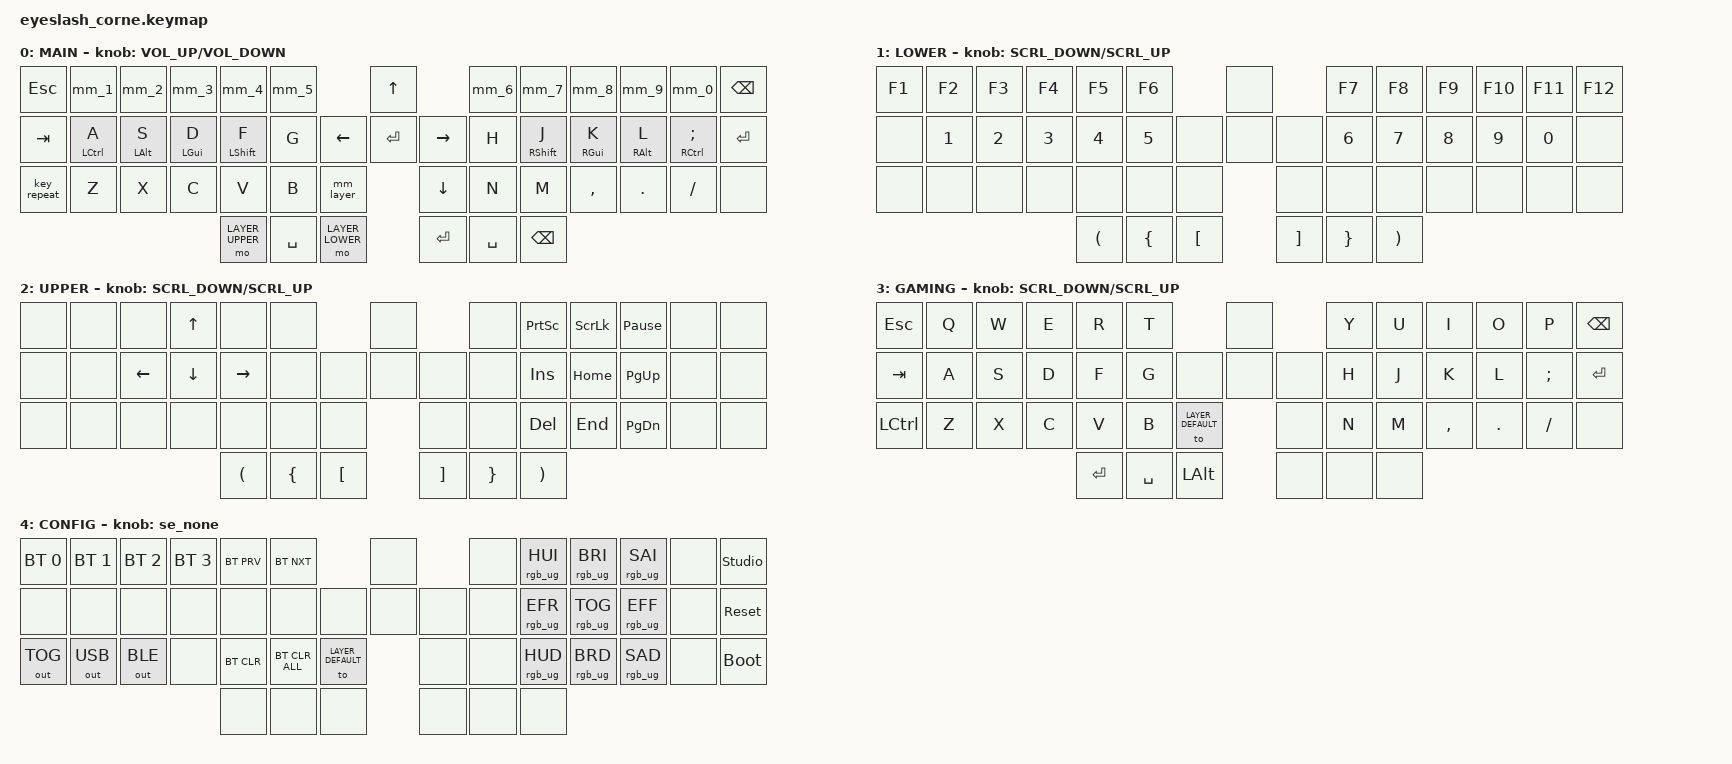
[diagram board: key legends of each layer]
#define ZMK_POINTING_DEFAULT_MOVE_VAL 1200
#define ZMK_POINTING_DEFAULT_SCRL_VAL 25

#include <input/processors.dtsi>
#include <zephyr/dt-bindings/input/input-event-codes.h>
#include <behaviors.dtsi>
#include <dt-bindings/zmk/bt.h>
#include <dt-bindings/zmk/ext_power.h>
#include <dt-bindings/zmk/keys.h>
#include <dt-bindings/zmk/outputs.h>
#include <dt-bindings/zmk/pointing.h>
#include <dt-bindings/zmk/rgb.h>

#define LAYER_DEFAULT 0
#define LAYER_LOWER 1
#define LAYER_UPPER 2
#define LAYER_GAMING 3
#define LAYER_CONFIG 4

#define MOD_MORPH(LABEL, TAP, NUM, DISPLAY_NAME) \
LABEL: LABEL { \
  compatible = "zmk,behavior-mod-morph"; \
  display-name = DISPLAY_NAME; \
  #binding-cells = <0>; \
  bindings = <TAP>, <NUM>; \
  mods = <(MOD_LGUI | MOD_RGUI)>; \
}

// Scroll Behavior
&msc_input_listener { input-processors = <&zip_scroll_scaler 2 1>; };
&msc {
  acceleration-exponent = <0>;
  time-to-max-speed-ms = <100>;
  delay-ms = <0>;
};

// Mouse Movement Behavior
&mmv_input_listener { input-processors = <&zip_xy_scaler 2 1>; };
&mmv {
  time-to-max-speed-ms = <500>;
  acceleration-exponent = <1>;
  trigger-period-ms = <16>;
};

/{
  behaviors {
    ht: hold_tap {
      compatible = "zmk,behavior-hold-tap";
      display-name = "Hold+Tap <Tap Preferred>";
      #binding-cells = <2>;
      bindings = <&kp>, <&kp>;
      // Options
      tapping-term-ms = <130>;
      flavor = "tap-preferred";
      quick-tap-ms = <200>;
      retro-tap;
    };
    mm_layer: mod_morph_layer {
      compatible = "zmk,behavior-mod-morph";
      display-name = "Mod Morph";
      #binding-cells = <0>;
      bindings = <&kp C_MUTE>, <&td_layer>;
      // Options
      mods = <(MOD_LCTL | MOD_LGUI | MOD_LALT | MOD_LSFT | MOD_RSFT | MOD_RALT | MOD_RGUI | MOD_RCTL)>;
    };
    td_layer: tap_dance_layer {
      compatible = "zmk,behavior-tap-dance";
      #binding-cells = <0>;
      // Options
      tapping-term-ms = <1000>;
      bindings = <&none>, <&to LAYER_GAMING>, <&to LAYER_CONFIG>;
    };
    se_none: scroll_encoder_none {
      compatible = "zmk,behavior-sensor-rotate";
      #sensor-binding-cells = <0>;
      bindings = <&none>, <&none>;
      // Options
      tap-ms = <100>;
    };
    se_kp_kp: scroll_encoder_kp_kp {
      compatible = "zmk,behavior-sensor-rotate-var";
      #sensor-binding-cells = <2>;
      bindings = <&kp>, <&kp>;
      // Options
      tap-ms = <100>;
    };
    se_msc_msc: scroll_encoder_msc_msc {
      compatible = "zmk,behavior-sensor-rotate-var";
      #sensor-binding-cells = <2>;
      bindings = <&msc>, <&msc>;
      // Options
      tap-ms = <100>;
    };
    MOD_MORPH(mm_1, &kp Q, &kp N1, "Mod Morph Q::N1");
    MOD_MORPH(mm_2, &kp W, &kp N2, "Mod Morph W::N2");
    MOD_MORPH(mm_3, &kp E, &kp N3, "Mod Morph E::N3");
    MOD_MORPH(mm_4, &kp R, &kp N4, "Mod Morph R::N4");
    MOD_MORPH(mm_5, &kp T, &kp N5, "Mod Morph T::N5");
    MOD_MORPH(mm_6, &kp Y, &kp N6, "Mod Morph Y::N6");
    MOD_MORPH(mm_7, &kp U, &kp N7, "Mod Morph U::N7");
    MOD_MORPH(mm_8, &kp I, &kp N8, "Mod Morph I::N8");
    MOD_MORPH(mm_9, &kp O, &kp N9, "Mod Morph O::N9");
    MOD_MORPH(mm_0, &kp P, &kp N0, "Mod Morph P::N0");
  };

  keymap {
    compatible = "zmk,keymap";

    layer_main {
      display-name = "MAIN";
      bindings = <
// ╔═════════════════╦═════════════════╦═════════════════╦═════════════════╦═════════════════╦═════════════════╗                                           ╔═════════════════╗                    ╔═════════════════╦═════════════════╦═════════════════╦═════════════════╦═════════════════╦═════════════════╗
          &kp ESC           &mm_1             &mm_2             &mm_3             &mm_4             &mm_5                                                        &kp UP                                  &mm_6             &mm_7             &mm_8             &mm_9             &mm_0            &kp BSPC
// ╠═════════════════╬═════════════════╬═════════════════╬═════════════════╬═════════════════╬═════════════════╣                         ╔═════════════════╬═════════════════╬═════════════════╗  ╠═════════════════╬═════════════════╬═════════════════╬═════════════════╬═════════════════╬═════════════════╣
          &kp TAB       &ht LCTRL A        &ht LALT S        &ht LGUI D        &ht LSHIFT F         &kp G                                     &kp LEFT          &kp ENTER         &kp RIGHT              &kp H         &ht RSHIFT J        &ht RGUI K       &ht RALT L      &ht RCTRL SEMI       &kp ENTER
// ╠═════════════════╬═════════════════╬═════════════════╬═════════════════╬═════════════════╬═════════════════╣  ╔═════════════════╗    ╚═════════════════╬═════════════════╬═════════════════╝  ╠═════════════════╬═════════════════╬═════════════════╬═════════════════╬═════════════════╬═════════════════╣
        &key_repeat         &kp Z             &kp X             &kp C             &kp V             &kp B              &mm_layer                                &kp DOWN                                 &kp N             &kp M           &kp COMMA          &kp DOT          &kp FSLH            &none
// ╚═════════════════╩═════════════════╩═════════════════╩═════════════════╩═════════════════╩═════════════════╝  ╚═════════════════╝                      ╚═════════════════╝                    ╚═════════════════╩═════════════════╩═════════════════╩═════════════════╩═════════════════╩═════════════════╝
//                                                                            ╔═════════════════╦═════════════════╦═════════════════╗                                         ╔═════════════════╦═════════════════╦═════════════════╗
                                                                                &mo LAYER_UPPER      &kp SPACE      &mo LAYER_LOWER                                                &kp ENTER         &kp SPACE         &kp BSPC
//                                                                            ╚═════════════════╩═════════════════╩═════════════════╝                                         ╚═════════════════╩═════════════════╩═════════════════╝
      >;
      sensor-bindings = <&se_kp_kp C_VOLUME_UP C_VOLUME_DOWN>;
    };

    layer_lower {
      display-name = "LOWER";
      bindings = <
// ╔═════════════════╦═════════════════╦═════════════════╦═════════════════╦═════════════════╦═════════════════╗                                           ╔═════════════════╗                    ╔═════════════════╦═════════════════╦═════════════════╦═════════════════╦═════════════════╦═════════════════╗
          &kp F1            &kp F2            &kp F3            &kp F4            &kp F5           &kp F6                                                         &none                                 &kp F7            &kp F8            &kp F9            &kp F10           &kp F11           &kp F12
// ╠═════════════════╬═════════════════╬═════════════════╬═════════════════╬═════════════════╬═════════════════╣                         ╔═════════════════╬═════════════════╬═════════════════╗  ╠═════════════════╬═════════════════╬═════════════════╬═════════════════╬═════════════════╬═════════════════╣
          &none             &kp N1            &kp N2            &kp N3            &kp N4           &kp N5                                       &none             &none             &none               &kp N6            &kp N7            &kp N8            &kp N9            &kp N0             &none
// ╠═════════════════╬═════════════════╬═════════════════╬═════════════════╬═════════════════╬═════════════════╣  ╔═════════════════╗    ╚═════════════════╬═════════════════╬═════════════════╝  ╠═════════════════╬═════════════════╬═════════════════╬═════════════════╬═════════════════╬═════════════════╣
          &none             &none             &none             &none             &none             &none                &none                                    &none                                  &none             &none             &none             &none             &none             &none
// ╚═════════════════╩═════════════════╩═════════════════╩═════════════════╩═════════════════╩═════════════════╝  ╚═════════════════╝                      ╚═════════════════╝                    ╚═════════════════╩═════════════════╩═════════════════╩═════════════════╩═════════════════╩═════════════════╝
//                                                                            ╔═════════════════╦═════════════════╦═════════════════╗                                         ╔═════════════════╦═════════════════╦═════════════════╗
                                                                                    &kp LPAR         &kp LBRC           &kp LBKT                                                    &kp RBKT          &kp RBRC          &kp RPAR
//                                                                            ╚═════════════════╩═════════════════╩═════════════════╝                                         ╚═════════════════╩═════════════════╩═════════════════╝
      >;
      sensor-bindings = <&se_msc_msc SCRL_DOWN SCRL_UP>;
    };

    layer_upper {
      display-name = "UPPER";
      bindings = <
// ╔═════════════════╦═════════════════╦═════════════════╦═════════════════╦═════════════════╦═════════════════╗                                           ╔═════════════════╗                    ╔═════════════════╦═════════════════╦═════════════════╦═════════════════╦═════════════════╦═════════════════╗
          &none             &none             &none             &kp UP            &none             &none                                                         &none                                   &none       &kp PRINTSCREEN   &kp SCROLLLOCK    &kp PAUSE_BREAK        &none             &none
// ╠═════════════════╬═════════════════╬═════════════════╬═════════════════╬═════════════════╬═════════════════╣                         ╔═════════════════╬═════════════════╬═════════════════╗  ╠═════════════════╬═════════════════╬═════════════════╬═════════════════╬═════════════════╬═════════════════╣
          &none             &none           &kp LEFT           &kp DOWN         &kp RIGHT           &none                                       &none             &none             &none                 &none          &kp INS           &kp HOME         &kp PG_UP            &none             &none
// ╠═════════════════╬═════════════════╬═════════════════╬═════════════════╬═════════════════╬═════════════════╣  ╔═════════════════╗    ╚═════════════════╬═════════════════╬═════════════════╝  ╠═════════════════╬═════════════════╬═════════════════╬═════════════════╬═════════════════╬═════════════════╣
          &none             &none             &none             &none             &none             &none                &none                                    &none                                   &none          &kp DEL           &kp END          &kp PG_DN            &none             &none
// ╚═════════════════╩═════════════════╩═════════════════╩═════════════════╩═════════════════╩═════════════════╝  ╚═════════════════╝                      ╚═════════════════╝                    ╚═════════════════╩═════════════════╩═════════════════╩═════════════════╩═════════════════╩═════════════════╝
//                                                                            ╔═════════════════╦═════════════════╦═════════════════╗                                         ╔═════════════════╦═════════════════╦═════════════════╗
                                                                                    &kp LPAR         &kp LBRC           &kp LBKT                                                    &kp RBKT          &kp RBRC          &kp RPAR
//                                                                            ╚═════════════════╩═════════════════╩═════════════════╝                                         ╚═════════════════╩═════════════════╩═════════════════╝
      >;
      sensor-bindings = <&se_msc_msc SCRL_DOWN SCRL_UP>;
    };

    layer_gaming {
      display-name = "GAMING";
      bindings = <
// ╔═════════════════╦═════════════════╦═════════════════╦═════════════════╦═════════════════╦═════════════════╗                                           ╔═════════════════╗                    ╔═════════════════╦═════════════════╦═════════════════╦═════════════════╦═════════════════╦═════════════════╗
        &kp ESC             &kp Q             &kp W             &kp E             &kp R             &kp T                                                         &none                                  &kp Y             &kp U             &kp I             &kp O             &kp P            &kp BSPC
// ╠═════════════════╬═════════════════╬═════════════════╬═════════════════╬═════════════════╬═════════════════╣                         ╔═════════════════╬═════════════════╬═════════════════╗  ╠═════════════════╬═════════════════╬═════════════════╬═════════════════╬═════════════════╬═════════════════╣
        &kp TAB             &kp A             &kp S             &kp D             &kp F             &kp G                                       &none             &none             &none                &kp H             &kp J             &kp K             &kp L            &kp SEMI         &kp ENTER
// ╠═════════════════╬═════════════════╬═════════════════╬═════════════════╬═════════════════╬═════════════════╣  ╔═════════════════╗    ╚═════════════════╬═════════════════╬═════════════════╝  ╠═════════════════╬═════════════════╬═════════════════╬═════════════════╬═════════════════╬═════════════════╣
        &kp LCTRL           &kp Z             &kp X             &kp C             &kp V             &kp B          &to LAYER_DEFAULT                              &none                                  &kp N             &kp M           &kp COMMA          &kp DOT           &kp FSLH           &none
// ╚═════════════════╩═════════════════╩═════════════════╩═════════════════╩═════════════════╩═════════════════╝  ╚═════════════════╝                      ╚═════════════════╝                    ╚═════════════════╩═════════════════╩═════════════════╩═════════════════╩═════════════════╩═════════════════╝
//                                                                            ╔═════════════════╦═════════════════╦═════════════════╗                                         ╔═════════════════╦═════════════════╦═════════════════╗
                                                                                    &kp ENTER        &kp SPACE          &kp LALT                                                      &none             &none             &none
//                                                                            ╚═════════════════╩═════════════════╩═════════════════╝                                         ╚═════════════════╩═════════════════╩═════════════════╝
      >;
      sensor-bindings = <&se_msc_msc SCRL_DOWN SCRL_UP>;
    };

    layer_config {
      display-name = "CONFIG";
      bindings = <
// ╔═════════════════╦═════════════════╦═════════════════╦═════════════════╦═════════════════╦═════════════════╗                                           ╔═════════════════╗                    ╔═════════════════╦═════════════════╦═════════════════╦═════════════════╦═════════════════╦═════════════════╗
      &bt BT_SEL 0      &bt BT_SEL 1      &bt BT_SEL 2      &bt BT_SEL 3       &bt BT_PRV        &bt BT_NXT                                                       &none                                  &none        &rgb_ug RGB_HUI   &rgb_ug RGB_BRI   &rgb_ug RGB_SAI        &none         &studio_unlock
// ╠═════════════════╬═════════════════╬═════════════════╬═════════════════╬═════════════════╬═════════════════╣                         ╔═════════════════╬═════════════════╬═════════════════╗  ╠═════════════════╬═════════════════╬═════════════════╬═════════════════╠═════════════════╬═════════════════╣
          &none             &none             &none             &none             &none             &none                                       &none             &none             &none                &none        &rgb_ug RGB_EFR   &rgb_ug RGB_TOG   &rgb_ug RGB_EFF        &none           &sys_reset
// ╠═════════════════╬═════════════════╬═════════════════╬═════════════════╬═════════════════╬═════════════════╣  ╔═════════════════╗    ╚═════════════════╬═════════════════╬═════════════════╝  ╠═════════════════╬═════════════════╬═════════════════╬═════════════════╠═════════════════╬═════════════════╣
      &out OUT_TOG      &out OUT_USB      &out OUT_BLE          &none          &bt BT_CLR      &bt BT_CLR_ALL      &to LAYER_DEFAULT                              &none                                  &none        &rgb_ug RGB_HUD   &rgb_ug RGB_BRD   &rgb_ug RGB_SAD        &none           &bootloader
// ╚═════════════════╩═════════════════╩═════════════════╩═════════════════╩═════════════════╩═════════════════╝  ╚═════════════════╝                      ╚═════════════════╝                    ╚═════════════════╩═════════════════╩═════════════════╩═════════════════╩═════════════════╩═════════════════╝
//                                                                            ╔═════════════════╦═════════════════╦═════════════════╗                                         ╔═════════════════╦═════════════════╦═════════════════╗
                                                                                      &none            &none             &none                                                       &none             &none             &none
//                                                                            ╚═════════════════╩═════════════════╩═════════════════╝                                         ╚═════════════════╩═════════════════╩═════════════════╝
      >;
      sensor-bindings = <&se_none>;
    };
  };
};
